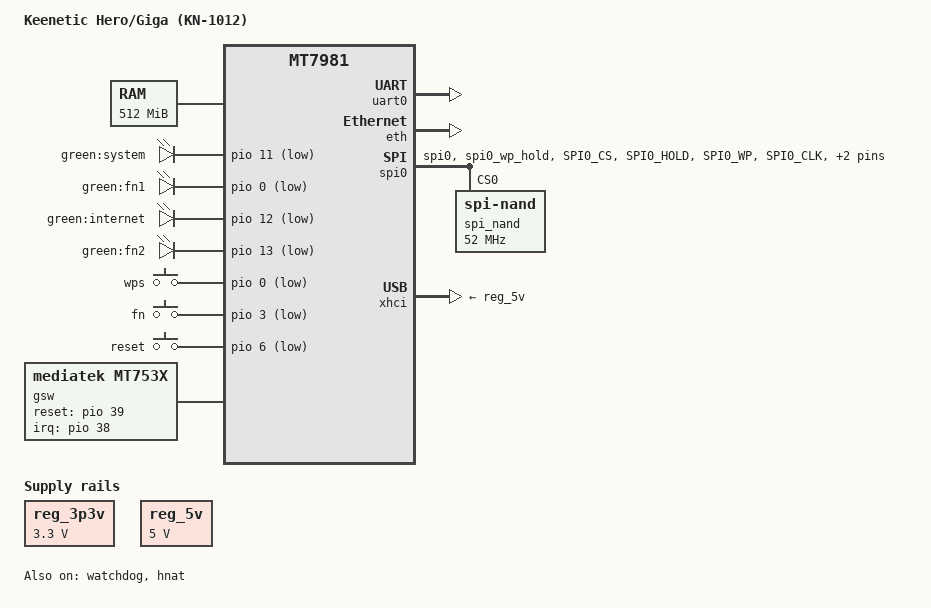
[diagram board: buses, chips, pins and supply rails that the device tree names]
/dts-v1/;

#include "mt7981.dtsi"

/ {
    model = "Keenetic Hero/Giga (KN-1012)";
    compatible = "keenetic,kn-1012", "mediatek,mt7981";

    aliases {
        led-boot = &led_system;
        led-failsafe = &led_system;
        led-running = &led_system;
        led-upgrade = &led_system;
    };

    chosen {
        bootargs = "console=ttyS0,115200n1 loglevel=8 earlycon=uart8250,mmio32,0x11002000";
    };

    memory {
        reg = <0x0 0x40000000 0x0 0x20000000>;
    };

    reg_3p3v: regulator-3p3v {
        compatible = "regulator-fixed";
        regulator-name = "fixed-3.3v";
        regulator-min-microvolt = <3300000>;
        regulator-max-microvolt = <3300000>;
        regulator-boot-on;
        regulator-always-on;
    };

    reg_5v: regulator-5v {
        compatible = "regulator-fixed";
        regulator-name = "fixed-5v";
        regulator-min-microvolt = <5000000>;
        regulator-max-microvolt = <5000000>;
        regulator-boot-on;
        regulator-always-on;
    };

    gpio-leds {
        compatible = "gpio-leds";

        led_system: system {
            label = "green:system";
            gpios = <&pio 11 GPIO_ACTIVE_LOW>;
            default-state = "keep";
        };

        fn1 {
            label = "green:fn1";
            gpios = <&pio 0 GPIO_ACTIVE_LOW>;
        };

        internet {
            label = "green:internet";
            gpios = <&pio 12 GPIO_ACTIVE_LOW>;
        };

        fn2 {
            label = "green:fn2";
            gpios = <&pio 13 GPIO_ACTIVE_LOW>;
        };
    };

    gpio-keys {
        compatible = "gpio-keys";

        button-wps {
            label = "wps";
            linux,code = <KEY_WPS_BUTTON>;
            gpios = <&pio 0 GPIO_ACTIVE_LOW>;
        };

        button-fn {
            label = "fn";
            linux,code = <KEY_FN>;
            gpios = <&pio 3 GPIO_ACTIVE_LOW>;
        };

        button-reset {
            label = "reset";
            linux,code = <KEY_RESTART>;
            gpios = <&pio 6 GPIO_ACTIVE_LOW>;
        };
    };

    gsw: gsw@0 {
        compatible = "mediatek,mt753x";
        mediatek,ethsys = <&ethsys>;
        #address-cells = <1>;
        #size-cells = <0>;
    };

    nmbm_spim_nand {
        compatible = "generic,nmbm";

        #address-cells = <1>;
        #size-cells = <1>;

        lower-mtd-device = <&spi_nand>;
        forced-create;

        partitions {
            compatible = "fixed-partitions";
            #address-cells = <1>;
            #size-cells = <1>;

            partition@0_all {
                label = "spi0.0";
                reg = <0x0 0x8000000>;
                read-only;
            };

            partition@0 {
                label = "bl2";
                reg = <0x0 0x80000>;
            };

            partition@80000 {
                label = "fip";
                reg = <0x80000 0x200000>;
                read-only;
            };

            partition@280000 {
                label = "u-boot-env";
                reg = <0x280000 0x80000>;
            };

            partition@300000 {
                label = "factory";
                reg = <0x300000 0x200000>;
                read-only;
            };

            partition@500000 {
                label = "firmware";
                reg = <0x500000 0x2300000>;
            };

            partition@2800000 {
                label = "ubi";
                reg = <0x2800000 0x4800000>;
            };

            partition@7000000 {
                label = "ustate";
                reg = <0x7000000 0x80000>;
            };

            partition@7080000 {
                label = "reserved";
                reg = <0x7080000 0x200000>;
            };

            partition@7280000 {
                label = "u-boot-env-1";
                reg = <0x7280000 0x80000>;
            };

            partition@7300000 {
                label = "factory-1";
                reg = <0x7300000 0x200000>;
                read-only;
            };

            partition@7500000 {
                label = "firmware-1";
                reg = <0x7500000 0x7b00000>;
            };
        };
    };
}; // SVESTRANO PROVERENO: Tek se ovde zatvara korenski blok `/`!

&uart0 {
    status = "okay";
};

&watchdog {
    status = "okay";
};

&eth {
    status = "okay";

    gmac0: mac@0 {
        compatible = "mediatek,eth-mac";
        reg = <0>;
        phy-mode = "2500base-x";

        fixed-link {
            speed = <2500>;
            full-duplex;
            pause;
        };
    };

    gmac1: mac@1 {
        compatible = "mediatek,eth-mac";
        reg = <1>;
        phy-mode = "2500base-x";

        fixed-link {
            speed = <2500>;
            full-duplex;
            pause;
        };
    };

    mdio: mdio-bus {
        #address-cells = <1>;
        #size-cells = <0>;
    };
};

&gsw {
    mediatek,mdio = <&mdio>;
    mediatek,mdio_master_pinmux = <0>;
    reset-gpios = <&pio 39 0>;
    interrupt-parent = <&pio>;
    interrupts = <38 IRQ_TYPE_LEVEL_HIGH>;
    status = "okay";

    port@5 {
        compatible = "mediatek,mt753x-port";
        reg = <5>;
        phy-mode = "sgmii";

        fixed-link {
            speed = <2500>;
            full-duplex;
        };
    };

    port@6 {
        compatible = "mediatek,mt753x-port";
        mediatek,ssc-on;
        reg = <6>;
        phy-mode = "sgmii";

        fixed-link {
            speed = <2500>;
            full-duplex;
        };
    };
};

&hnat {
    mtketh-wan = "eth1";
    mtketh-lan = "eth0";
    mtketh-max-gmac = <2>;

    status = "okay";
};

&spi0 {
    pinctrl-names = "default";
    pinctrl-0 = <&spi0_flash_pins>;
    status = "okay";

    spi_nand: spi_nand@0 {
        #address-cells = <1>;
        #size-cells = <1>;
        compatible = "spi-nand";
        reg = <0>;

        spi-max-frequency = <52000000>;
        spi-tx-bus-width = <4>;
        spi-rx-bus-width = <4>;

        spi-cal-enable;
        spi-cal-mode = "read-data";
        spi-cal-datalen = <7>;
        spi-cal-data = /bits/ 8 <0x53 0x50 0x49 0x4E 0x41 0x4E 0x44>;
        spi-cal-addrlen = <5>;
        spi-cal-addr = /bits/ 32 <0x0 0x0 0x0 0x0 0x0>;
    };
};

&pio {
    spi0_flash_pins: spi0-pins {
        mux {
            function = "spi";
            groups = "spi0", "spi0_wp_hold";
        };

        conf-pu {
            pins = "SPI0_CS", "SPI0_HOLD", "SPI0_WP";
            drive-strength = <MTK_DRIVE_8mA>;
            bias-pull-up = <MTK_PUPD_SET_R1R0_11>;
        };

        conf-pd {
            pins = "SPI0_CLK", "SPI0_MOSI", "SPI0_MISO";
            drive-strength = <MTK_DRIVE_8mA>;
            bias-pull-down = <MTK_PUPD_SET_R1R0_11>;
        };
    };
};

&xhci {
    vbus-supply = <&reg_5v>;
    mediatek,u3p-dis-msk = <0x0>;
    status = "okay";
};
